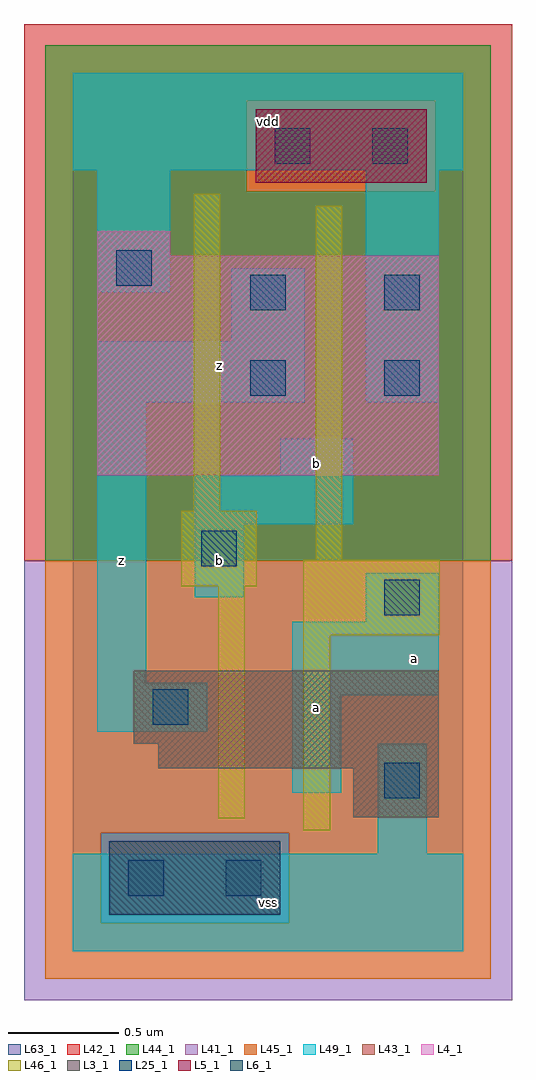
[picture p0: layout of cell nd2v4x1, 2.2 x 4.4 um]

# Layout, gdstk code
import gdstk
lib = gdstk.Library(unit=1e-6, precision=1e-09)
def R(c, l, rs):  # rectangles x0, y0, x1, y1
    for r in rs: c.add(gdstk.rectangle(r[:2], r[2:], *l))
L3_1 = (3, 1)
L4_1 = (4, 1)
L5_1 = (5, 1)
L6_1 = (6, 1)
L25_1 = (25, 1)
L41_1 = (41, 1)
L42_1 = (42, 1)
L43_1 = (43, 1)
L44_1 = (44, 1)
L45_1 = (45, 1)
L46_1 = (46, 1)
L49_1 = (49, 1)
L63_1 = (63, 1)

nd2v4x1 = lib.new_cell('nd2v4x1')
R(nd2v4x1, L3_1, [(1.265,0.605,1.65,0.825), (0.385,0.825,1.65,0.935), (0.275,0.935,1.65,1.265)])
R(nd2v4x1, L4_1, [(0.11,2.145,1.65,3.135), (0.11,3.135,0.44,3.245)])
R(nd2v4x1, L5_1, [(0.825,3.465,1.595,3.795)])
R(nd2v4x1, L6_1, [(0.165,0.165,0.935,0.495)])
R(nd2v4x1, L25_1, [(0.25,0.25,0.41,0.41), (0.69,0.25,0.85,0.41), (1.405,0.69,1.565,0.85), (0.36,1.02,0.52,1.18), (1.405,1.515,1.565,1.675), (0.58,1.735,0.74,1.895), (0.8,2.505,0.96,2.665), (1.405,2.505,1.565,2.665), (0.8,2.89,0.96,3.05), (1.405,2.89,1.565,3.05), (0.195,3,0.355,3.16), (0.91,3.55,1.07,3.71), (1.35,3.55,1.51,3.71)])
R(nd2v4x1, L41_1, [(-0.22,-0.22,1.98,1.76)])
R(nd2v4x1, L42_1, [(-0.22,1.76,1.98,4.18)])
R(nd2v4x1, L43_1, [(0.165,0.165,0.935,0.495), (1.265,0.605,1.65,0.825), (0.385,0.825,1.65,0.935), (0.275,0.935,1.65,1.265), (0.11,2.145,1.65,3.135), (0.11,3.135,0.44,3.245), (0.825,3.465,1.595,3.795)])
R(nd2v4x1, L44_1, [(0.125,0.125,0.975,0.535), (-0.125,1.76,1.885,3.425), (-0.125,3.425,0.785,3.835), (1.635,3.425,1.885,3.835), (-0.125,3.835,1.885,4.085)])
R(nd2v4x1, L45_1, [(-0.125,-0.125,1.885,0.125), (-0.125,0.125,0.125,0.535), (0.975,0.125,1.885,0.535), (-0.125,0.535,1.885,1.76), (0.785,3.425,1.635,3.835)])
R(nd2v4x1, L46_1, [(1.04,0.545,1.16,1.425), (0.655,0.6,0.775,1.645), (1.04,1.425,1.655,1.765), (0.49,1.645,0.83,1.985), (1.095,1.765,1.215,3.36), (0.545,1.985,0.665,3.415)])
R(nd2v4x1, L49_1, [(0,0,1.76,0.44), (1.375,0.44,1.595,0.935), (0.99,0.715,1.21,1.155), (0.11,0.99,0.605,1.21), (0.99,1.155,1.65,1.485), (0.11,1.21,0.33,2.475), (1.32,1.485,1.65,1.705), (0.55,1.595,0.77,1.925), (0.55,1.925,1.265,2.145), (0.935,2.145,1.265,2.31), (0.11,2.475,1.045,2.75), (1.32,2.475,1.65,3.52), (0.715,2.75,1.045,3.08), (0.11,2.97,0.44,3.52), (0,3.52,1.76,3.96)])
R(nd2v4x1, L63_1, [(0,0,1.76,3.96)])
nd2v4x1.add(gdstk.Label('z', (0.22,1.76), layer=49, texttype=1))
nd2v4x1.add(gdstk.Label('b', (0.66,1.76), layer=49, texttype=1))
nd2v4x1.add(gdstk.Label('z', (0.66,2.64), layer=49, texttype=1))
nd2v4x1.add(gdstk.Label('vss', (0.88,0.22), layer=49, texttype=1))
nd2v4x1.add(gdstk.Label('a', (1.1,1.1), layer=49, texttype=1))
nd2v4x1.add(gdstk.Label('b', (1.1,2.2), layer=49, texttype=1))
nd2v4x1.add(gdstk.Label('vdd', (0.88,3.74), layer=49, texttype=1))
nd2v4x1.add(gdstk.Label('a', (1.54,1.32), layer=49, texttype=1))

lib.write_gds('nd2v4x1.gds')
